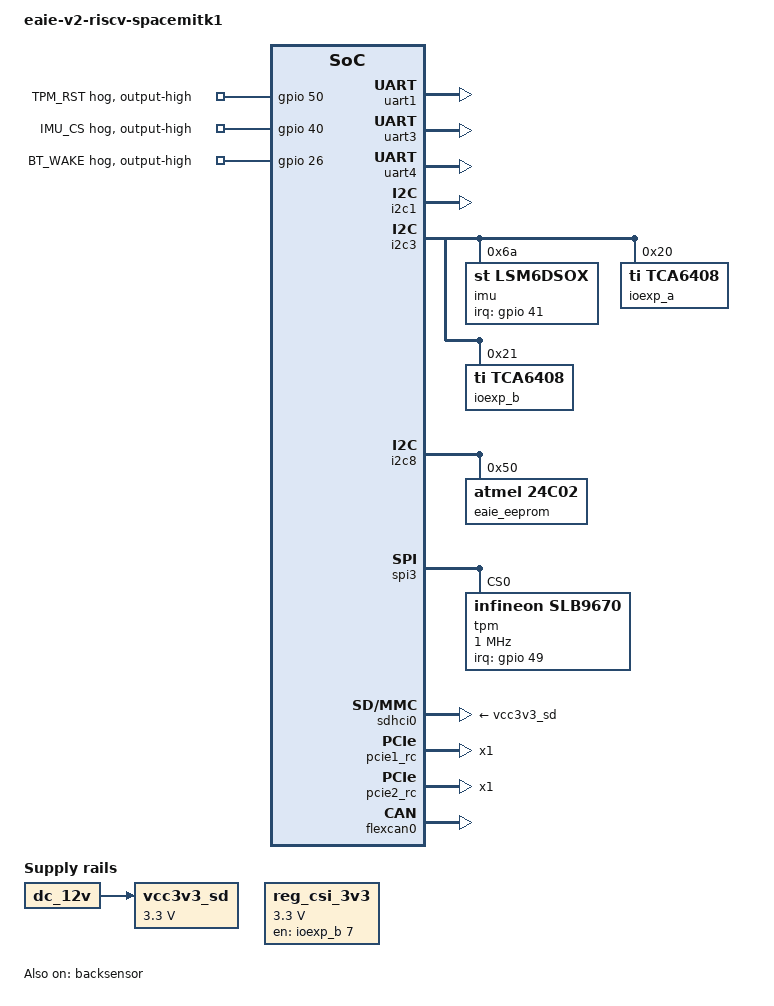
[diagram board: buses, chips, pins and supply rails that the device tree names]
// SPDX-License-Identifier: (GPL-2.0 OR MIT)
/* EAIE v2 (SMARC-2.1 SoM + baseboard + NTN NIC), SpacemiT K1.
 *
 * Override profile for the August-2026 hardware revision.  Do NOT use with the
 * earlier EAIE wiring -- that board is k1-x_eaie-v1-riscv-spacemitk1.dts.
 * Derived from the reviewed R2 profile; the annotated provenance version, with
 * every decision traced to a schematic page, is kept out of tree at
 * ai-agents/ELI-dts-review/comparison/k1-x_eaie-v1-R2-independant.dts */

/dts-v1/;

#include "k1-x_deb1-common.dtsi"
#include <dt-bindings/gpio/gpio.h>
#include <dt-bindings/interrupt-controller/irq.h>

/ {
	model = "eaie-v2-riscv-spacemitk1";

	modules_usrload = "bcmdhd";

	leds {
		status = "disabled";
	};

	/*
	 * ---------------------------------------------------------------------
	 * Camera on CN12 (22-pin MIPI-CSI).  Added 2026-08-29.
	 * ---------------------------------------------------------------------
	 * CN12 is a Raspberry-Pi-pinout 22-pin FFC (Molex 54548-2272, 0.5 mm, RA,
	 * bottom contact): 4 data lanes + clock from SoM MIPI CSI1, N on the even
	 * pins, POWER-EN on pin 17, I2C on 20/21, +V_CSI 3.3 V on pin 22.
	 * Pin 18 (LED / XCLK) is NC -- harmless: it is the LED line on RPi Camera
	 * v2-class modules, and those modules carry their own oscillator.
	 */

	/*
	 * Stand-in for the camera module's own 24 MHz crystal.  No MCLK is routed
	 * to CN12, but the upstream imx219 driver refuses to probe unless it sees
	 * a clock of exactly 24 MHz (drivers/media/i2c/imx219.c: IMX219_XCLK_FREQ).
	 */
	cam_xclk: cam-xclk {
		compatible = "fixed-clock";
		#clock-cells = <0>;
		clock-frequency = <24000000>;
	};

	/*
	 * NOTE the naming: +V_CSI itself is NOT gated -- it is hardwired from
	 * +3V3_SYS via R132 (0R) to CN12 pin 22.  What expander line P7 drives,
	 * through the TXS0104, is CN12 pin 17: the MODULE's active-high enable
	 * (RPi CAM_IO0 semantics), which switches the LDOs on the camera board.
	 * R154 pulls it up, so the module is enabled by default; modelling it as
	 * a regulator is behaviourally correct (it is how RPi models module
	 * power) and lets software switch it.  The module regulates its own
	 * 2.8 / 1.8 / 1.2 V rails from the single 3.3 V input.
	 */
	reg_csi_3v3: regulator-csi-3v3 {
		compatible = "regulator-fixed";
		regulator-name = "v-csi-3v3";
		regulator-min-microvolt = <3300000>;
		regulator-max-microvolt = <3300000>;
		gpio = <&ioexp_b 7 GPIO_ACTIVE_HIGH>;
		enable-active-high;
		regulator-boot-on;
	};

	vcc3v3_sd: vcc3v3-sd {
		compatible = "regulator-fixed";
		regulator-name = "vcc3v3_sd";
		regulator-always-on;
		regulator-boot-on;
		regulator-min-microvolt = <3300000>;
		regulator-max-microvolt = <3300000>;
		vin-supply = <&dc_12v>;
	};
};

&pinctrl {
	pinctrl-single,gpio-range = <
		&range GPIO_25  3 (MUX_MODE0 | EDGE_NONE | PULL_DOWN | PAD_1V8_DS2)
		&range GPIO_40  1 (MUX_MODE0 | EDGE_NONE | PULL_UP   | PAD_1V8_DS2)
		&range GPIO_44  1 (MUX_MODE0 | EDGE_NONE | PULL_DOWN | PAD_1V8_DS2)
		&range GPIO_50  1 (MUX_MODE0 | EDGE_NONE | PULL_UP   | PAD_3V_DS4)
		&range GPIO_58  1 (MUX_MODE0 | EDGE_NONE | PULL_UP   | PAD_1V8_DS2)
		&range GPIO_63  2 (MUX_MODE0 | EDGE_NONE | PULL_UP   | PAD_1V8_DS2)
		&range GPIO_65  1 (MUX_MODE0 | EDGE_NONE | PULL_UP   | PAD_1V8_DS2)
		&range GPIO_67  1 (MUX_MODE0 | EDGE_NONE | PULL_UP   | PAD_3V_DS4)
		&range PRI_TDI  2 (MUX_MODE1 | EDGE_NONE | PULL_UP   | PAD_1V8_DS2)
		&range PRI_TCK  1 (MUX_MODE1 | EDGE_NONE | PULL_DOWN | PAD_1V8_DS2)
		&range PRI_TDO  1 (MUX_MODE1 | EDGE_NONE | PULL_UP   | PAD_1V8_DS2)
		&range GPIO_74  1 (MUX_MODE0 | EDGE_NONE | PULL_UP   | PAD_1V8_DS2)
		&range GPIO_80  1 (MUX_MODE0 | EDGE_NONE | PULL_UP   | PAD_3V_DS4)
		&range GPIO_83  2 (MUX_MODE0 | EDGE_NONE | PULL_DOWN | PAD_1V8_DS2)
		&range GPIO_90  1 (MUX_MODE0 | EDGE_NONE | PULL_DOWN | PAD_1V8_DS2)
		&range GPIO_91  2 (MUX_MODE0 | EDGE_NONE | PULL_UP   | PAD_1V8_DS2)
		&range DVL0     1 (MUX_MODE1 | EDGE_NONE | PULL_DOWN | PAD_1V8_DS2)
		&range DVL1     1 (MUX_MODE1 | EDGE_NONE | PULL_DOWN | PAD_1V8_DS0)
		&range QSPI_CLK 1 (MUX_MODE1 | EDGE_NONE | PULL_UP   | PAD_3V_DS4)
		&range GPIO_110 1 (MUX_MODE0 | EDGE_NONE | PULL_DOWN | PAD_1V8_DS2)
		&range GPIO_114 1 (MUX_MODE0 | EDGE_NONE | PULL_DOWN | PAD_1V8_DS2)
		&range GPIO_115 1 (MUX_MODE0 | EDGE_NONE | PULL_DOWN | PAD_1V8_DS2)
		&range GPIO_116 1 (MUX_MODE0 | EDGE_NONE | PULL_UP   | PAD_1V8_DS2)
		&range GPIO_118 1 (MUX_MODE0 | EDGE_NONE | PULL_UP   | PAD_1V8_DS2)
		&range GPIO_123 1 (MUX_MODE0 | EDGE_NONE | PULL_DOWN | PAD_1V8_DS0)
		&range GPIO_124 1 (MUX_MODE0 | EDGE_NONE | PULL_UP   | PAD_1V8_DS2)
		&range GPIO_125 3 (MUX_MODE0 | EDGE_NONE | PULL_DOWN | PAD_1V8_DS2)
	>;

	pinctrl_uart1_eaie: uart1_eaie_grp {
		pinctrl-single,pins = <
			K1X_PADCONF(GPIO_29, MUX_MODE2, (EDGE_NONE | PULL_UP | PAD_1V8_DS2))	/* uart1_txd   AA20 */
			K1X_PADCONF(GPIO_30, MUX_MODE2, (EDGE_NONE | PULL_UP | PAD_1V8_DS2))	/* uart1_rxd   AD19 */
			K1X_PADCONF(GPIO_31, MUX_MODE2, (EDGE_NONE | PULL_UP | PAD_1V8_DS2))	/* uart1_cts_n AC20 */
			K1X_PADCONF(GPIO_32, MUX_MODE2, (EDGE_NONE | PULL_UP | PAD_1V8_DS2))	/* uart1_rts_n AA19 */
		>;
	};

	pinctrl_uart3_eaie: uart3_eaie_grp {
		pinctrl-single,pins = <
			K1X_PADCONF(GPIO_81, MUX_MODE2, (EDGE_NONE | PULL_UP | PAD_1V8_DS2))	/* uart3_txd AE9 */
			K1X_PADCONF(GPIO_82, MUX_MODE2, (EDGE_NONE | PULL_UP | PAD_1V8_DS2))	/* uart3_rxd AF7 */
		>;
	};

	pinctrl_wlan_wakeup_eaie: wlan_wakeup_eaie_grp {
		pinctrl-single,pins = <
			K1X_PADCONF(GPIO_43, MUX_MODE0, (EDGE_RISE | PULL_DOWN | PAD_1V8_DS2))	/* WL_HOST_WAKE AC23 */
		>;
	};

	pinctrl_imu_int_eaie: imu_int_eaie_grp {
		pinctrl-single,pins = <
			K1X_PADCONF(GPIO_41, MUX_MODE0, (EDGE_NONE | PULL_DOWN | PAD_1V8_DS2))	/* IMU_INT1 AB21 */
			K1X_PADCONF(GPIO_42, MUX_MODE0, (EDGE_NONE | PULL_DOWN | PAD_1V8_DS2))	/* IMU_INT2 AC22 */
		>;
	};

	pinctrl_tpm_irq_eaie: tpm_irq_eaie_grp {
		pinctrl-single,pins = <
			K1X_PADCONF(GPIO_49, MUX_MODE0, (EDGE_NONE | PULL_UP | PAD_3V_DS4))	/* TPM_PIRQ AF13 */
		>;
	};
};

&gpio {
	gpio-ranges = <
		&pinctrl 25  GPIO_25  3
		&pinctrl 40  GPIO_40  1
		&pinctrl 44  GPIO_44  1
		&pinctrl 50  GPIO_50  1
		&pinctrl 58  GPIO_58  1
		&pinctrl 63  GPIO_63  3
		&pinctrl 67  GPIO_67  1
		&pinctrl 70  PRI_TDI  4
		&pinctrl 74  GPIO_74  1
		&pinctrl 80  GPIO_80  1
		&pinctrl 83  GPIO_83  2
		&pinctrl 90  GPIO_90  3
		&pinctrl 96  DVL0     2
		&pinctrl 102 QSPI_CLK 1
		&pinctrl 110 GPIO_110 1
		&pinctrl 114 GPIO_114 3
		&pinctrl 118 GPIO_118 1
		&pinctrl 123 GPIO_123 5
	>;

	tpm-rst-hog {
		gpio-hog;
		gpios = <50 GPIO_ACTIVE_HIGH>;
		output-high;
		line-name = "TPM_RST";
	};

	imu-cs-hog {
		gpio-hog;
		gpios = <40 GPIO_ACTIVE_HIGH>;
		output-high;
		line-name = "IMU_CS";
	};

	bt-wake-hog {
		gpio-hog;
		gpios = <26 GPIO_ACTIVE_HIGH>;
		output-high;
		line-name = "BT_WAKE";
	};
};

&rf_pwrseq {
	/delete-property/ pwr-gpios;

	pinctrl-names = "default";
	pinctrl-0 = <&pinctrl_32k_out_2>;
};

&wlan_pwrseq {
	regon-gpios = <&gpio 44 GPIO_ACTIVE_HIGH>;
	interrupts = <176>;
	pinctrl-0 = <&pinctrl_wlan_wakeup_eaie>;
};

&bt_pwrseq {
	reset-gpios = <&gpio 25 GPIO_ACTIVE_HIGH>;
};

&uart1 {
	pinctrl-names = "default";
	pinctrl-0 = <&pinctrl_uart1_eaie>;
	status = "okay";
};

&uart3 {
	pinctrl-names = "default";
	pinctrl-0 = <&pinctrl_uart3_eaie>;
	status = "okay";
};

&uart4 {
	pinctrl-names = "default";
	pinctrl-0 = <&pinctrl_uart4_3>;
	status = "okay";
};

&i2c0 {
	status = "disabled";
};

&i2c1 {
	pinctrl-names = "default";
	pinctrl-0 = <&pinctrl_i2c1>;
	status = "okay";

	/*
	 * CAMERA PATH A -- interface validation only.  DISABLED.
	 *
	 * Sony IMX219 (Raspberry Pi Camera v2 / "Pi 5 8MP" module) on CN12.
	 * A successful probe proves the CN12 pinout and orientation, the +V_CSI
	 * rail, the MIPI_POWER_EN path, the level shifter and the whole I2C route
	 * (the driver reads chip ID 0x0219 from register 0x0000).
	 * It does NOT produce frames: SpacemiT's CSI receiver has no v4l2-async
	 * binding, so the subdev this driver registers is never claimed by the
	 * ISP pipeline.  For frames use PATH B below.
	 *
	 * Needs CONFIG_VIDEO_IMX219=m (the driver is in-tree; not in k1_defconfig).
	 * All three supplies point at the same 3.3 V rail because the module
	 * regulates internally.
	 */
	imx219: camera@10 {
		compatible = "sony,imx219";
		reg = <0x10>;
		status = "disabled";	/* PATH B is the live path -- see below */
		clocks = <&cam_xclk>;
		VANA-supply = <&reg_csi_3v3>;
		VDIG-supply = <&reg_csi_3v3>;
		VDDL-supply = <&reg_csi_3v3>;

		port {
			imx219_out: endpoint {
				data-lanes = <1 2>;	/* module is 2-lane; CN12 routes 4 */
				link-frequencies = /bits/ 64 <456000000>;
			};
		};
	};
};

&i2c2 {
	status = "disabled";
};

&es8326 {
	status = "disabled";
};

&i2c3 {
	pinctrl-names = "default";
	pinctrl-0 = <&pinctrl_i2c3_0>;
	status = "okay";

	imu@6a {
		compatible = "st,lsm6dsox";
		reg = <0x6a>;
		pinctrl-names = "default";
		pinctrl-0 = <&pinctrl_imu_int_eaie>;
		interrupt-parent = <&gpio>;
		interrupts = <41 IRQ_TYPE_EDGE_RISING>;	/* INT1 -> GPIO_41; INT2 -> GPIO_42 unused */
	};

	ioexp_a: gpio@20 {
		compatible = "ti,tca6408";
		reg = <0x20>;
		gpio-controller;
		#gpio-cells = <2>;
		gpio-line-names = "CN7_IO_P0", "CN7_IO_P1", "CN7_IO_P2", "CN7_IO_P3",
				  "CN7_IO_P4", "CN7_IO_P5", "CN7_IO_P6", "CN7_IO_P7";
	};

	ioexp_b: gpio@21 {
		compatible = "ti,tca6408";
		reg = <0x21>;
		gpio-controller;
		#gpio-cells = <2>;
		gpio-line-names = "MOD_A_SW_RST", "MOD_A_SIM2_DET", "MOD_A_PWR_ON",
				  "MOD_B_SW_RST", "MOD_B_SIM2_DET", "MOD_B_PWR_ON",
				  "RS485_CONTROL", "MIPI_POWER_EN";

		mod-a-pwr-on-hog {
			gpio-hog;
			gpios = <2 GPIO_ACTIVE_HIGH>;
			output-high;
			line-name = "MOD_A_PWR_ON";
		};

		mod-a-sw-rst-hog {
			gpio-hog;
			gpios = <0 GPIO_ACTIVE_HIGH>;
			output-high;
			line-name = "MOD_A_SW_RST";
		};

		mod-b-pwr-on-hog {
			gpio-hog;
			gpios = <5 GPIO_ACTIVE_HIGH>;
			output-high;
			line-name = "MOD_B_PWR_ON";
		};

		mod-b-sw-rst-hog {
			gpio-hog;
			gpios = <3 GPIO_ACTIVE_HIGH>;
			output-high;
			line-name = "MOD_B_SW_RST";
		};
	};
};

&i2c8 {
	eaie_eeprom: eeprom@50 {
		compatible = "atmel,24c02";
		reg = <0x50>;
		#address-cells = <1>;
		#size-cells = <1>;
		read-only;
		power-domains = <&power K1X_PMU_DUMMY_PWR_DOMAIN>;
		status = "okay";

		eaie_mac0: mac-address@0 {
			reg = <0x0 6>;
		};

		eaie_mac1: mac-address@6 {
			reg = <0x6 6>;
		};
	};
};

&spi3 {
	pinctrl-names = "default";
	pinctrl-0 = <&pinctrl_ssp3_0>;
	k1x,ssp-disable-dma;
	k1x,ssp-clock-rate = <25600000>;
	status = "okay";

	tpm@0 {
		compatible = "infineon,slb9670";
		reg = <0>;
		spi-max-frequency = <1000000>;
		pinctrl-names = "default";
		pinctrl-0 = <&pinctrl_tpm_irq_eaie>;
		interrupt-parent = <&gpio>;
		interrupts = <49 IRQ_TYPE_EDGE_FALLING>;
		status = "okay";
	};
};

&qspi {
	status = "disabled";
};

&sdhci0 {
	vmmc-supply = <&vcc3v3_sd>;
};

&eth0 {
	nvmem-cells = <&eaie_mac0>;
	nvmem-cell-names = "mac-address";
};

&eth1 {
	status = "disabled";
};

&usb3hub {
	/delete-property/ hub-gpios;
	/delete-property/ vbus-gpios;
	status = "disabled";
};

&pcie1_rc {
	num-lanes = <1>;
	k1x,pwr_on = <&gpio 84 GPIO_ACTIVE_HIGH>;
};

&pcie2_rc {
	pinctrl-0 = <&pinctrl_pcie2_3>;
	num-lanes = <1>;
	k1x,pwr_on = <&gpio 83 GPIO_ACTIVE_HIGH>;
};

&flexcan0 {
	pinctrl-names = "default";
	pinctrl-0 = <&pinctrl_can_1>;
	status = "okay";
};

&pwm14 {
	status = "disabled";
};

&pwm_bl {
	status = "disabled";
};

&i2s0 {
	status = "disabled";
};

&sound_codec {
	status = "disabled";
};

/*
 * CAMERA PATH B -- the route to actual frames.  ENABLED.
 *
 * SpacemiT does not bind sensor drivers: vi/k1xvi.c creates *virtual* sensor
 * entities and the real sensor is driven from userspace through this node's
 * /dev/cam_sensorN character device (I2C burst read/write + power ioctls).
 * The driver is sensor-agnostic -- there are no per-sensor kernel files -- so
 * the IMX219 is already supported by the vendor userspace: libcam_sensors.so
 * registers imx219_spm_Obj/imx219Obj (see cam_sensors_module_list.h in the
 * rootfs).  One mode is populated: 1920x1080 10-bit 30 fps, 2 lanes, I2C 0x10.
 *
 * To switch back: status = "disabled" here AND "okay" on camera@10 above.
 * Never enable both -- they would fight over the same I2C device.
 *
 * Reuses the inherited BPI-F3 cam_sensor@0 node with its specifics removed:
 *   twsi-index 0 -> 1  : the camera bus on EAIE is AP_I2C1 (GPIO_56/57).
 *   dphy-index  = 0    : SoM routes "MIPI CSI1"; csiphy0 is the PHY clocked by
 *                        CLK_CCIC1PHY and is enabled by the base profile.
 *                        VERIFY at bring-up (alternatives: 1, 2).
 *   clocks/clock-names : INHERITED, deliberately not deleted -- the driver
 *                        must acquire a clock or the MCLK ioctls return
 *                        -EINVAL.  See the note in the node below.
 *   pwdn/reset-gpios   : DELETED -- the inherited values are GPIO_113/111,
 *                        which are the PCIe2 sideband pads on EAIE.  Leaving
 *                        them would break M.2 slot A.  CN12 has no reset line.
 *   clocks, pinctrl    : DELETED -- meaningless with mclk-disable, and
 *                        pinctrl_camera1 would collide with GPIO_58.
 */
&backsensor {
	twsi-index = <1>;
	dphy-index = <0>;

	/*
	 * MCLK: KEEP the inherited clocks/clock-names (<&ccu CLK_CAMM0>,
	 * "cam_mclk0") -- do NOT use mclk-disable.  The camera module
	 * self-clocks from its own 24 MHz oscillator and the K1 CAM_MCLK pads
	 * are NC on EAIE, so this clock physically drives nothing.  But the
	 * driver must still ACQUIRE it: with mclk-disable, cam_sensor.c:1427
	 * leaves msnr_dev->mclk NULL, and camsnr_set_mclk_rate() /
	 * camsnr_set_mclk_enable() (cam_sensor.c:400-455) do not consult
	 * dis_mclk -- they test the pointer and return -EINVAL, which
	 * libcam_sensors logs at error level ("sensor%d set mclk enable
	 * [%d] failed").  GPIO_53 (CAM_MCLK0) is NC on EAIE per the netlist,
	 * so the inherited pinctrl_camera0 mux costs us nothing.
	 */

	/delete-property/ pwdn-gpios;
	/delete-property/ reset-gpios;
	/delete-property/ af_2v8-supply;
	/delete-property/ dvdd_1v2-supply;

	avdd_2v8-supply = <&reg_csi_3v3>;
	dovdd_1v8-supply = <&reg_csi_3v3>;

	status = "okay";
};
